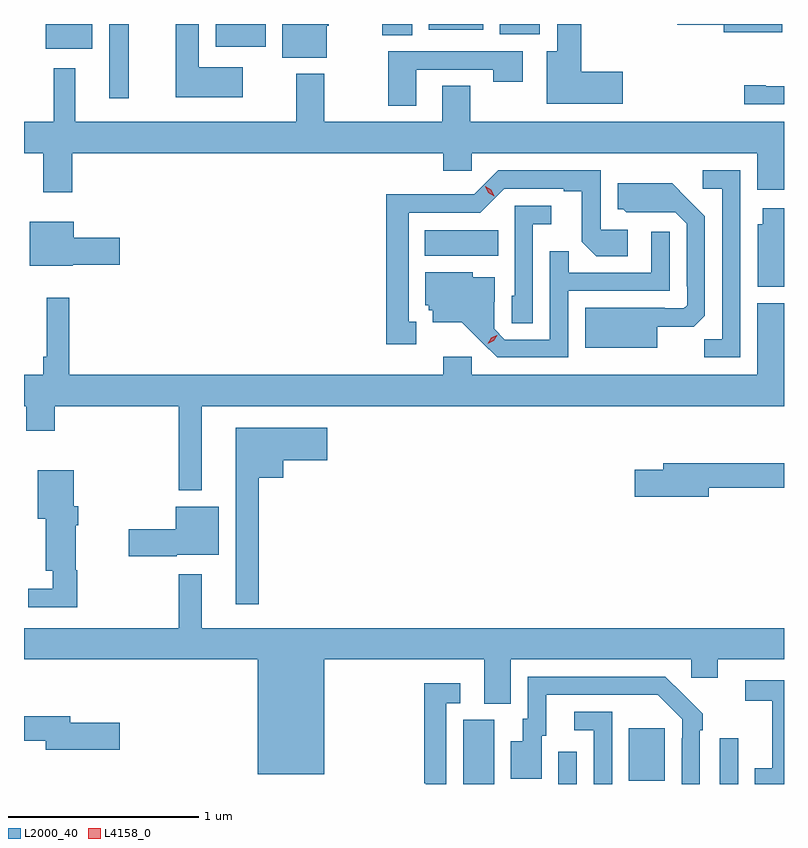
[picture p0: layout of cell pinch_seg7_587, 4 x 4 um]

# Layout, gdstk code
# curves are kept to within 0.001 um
import gdstk
lib = gdstk.Library(unit=1e-6, precision=1e-09)
def R(c, l, rs):  # rectangles x0, y0, x1, y1
    for r in rs: c.add(gdstk.rectangle(r[:2], r[2:], *l))
def P(c, l, *ps):  # polygons
    for p in ps: c.add(gdstk.Polygon(p, *l))
L2000_40 = (2000, 40)
L4158_0 = (4158, 0)

pinch_seg7_587 = lib.new_cell('pinch_seg7_587')
R(pinch_seg7_587, L2000_40, [(148.226,1021.271,148.39,1021.608), (148.728,1021.271,148.824,1021.441), (149.577,1021.271,149.673,1021.513), (149.099,1021.289,149.287,1021.564), (148.025,1024.052,148.412,1024.186), (146.363,1024.881,146.467,1025.271), (146.03,1025.141,146.275,1025.271), (146.924,1025.15,147.187,1025.271), (147.8,1025.212,147.958,1025.271), (148.418,1025.216,148.63,1025.271), (148.046,1025.24,148.333,1025.271)])
P(pinch_seg7_587, L2000_40, [(149.065,1025.021),(148.847,1025.021),(148.847,1025.271),(148.721,1025.271),(148.721,1025.128),(148.667,1025.128),(148.667,1024.85),(149.065,1024.85)],
  [(147.508,1025.262),(147.52,1025.262),(147.52,1025.271),(147.275,1025.271),(147.275,1025.093),(147.508,1025.093)],
  [(147.067,1025.044),(146.836,1025.044),(146.836,1025.271),(146.714,1025.271),(146.714,1024.886),(147.067,1024.886)],
  [(149.905,1025.271),(149.352,1025.271),(149.352,1025.267),(149.597,1025.267),(149.597,1025.228),(149.905,1025.228)],
  [(147.979,1025.031),(148.384,1025.031),(148.384,1024.968),(148.54,1024.968),(148.54,1025.127),(147.832,1025.127),(147.832,1024.842),(147.979,1024.842)],
  [(145.915,1024.592),(146.015,1024.592),(146.015,1024.386),(146.168,1024.386),(146.168,1024.592),(148.121,1024.592),(148.121,1024.499),(148.272,1024.499),(148.272,1024.592),(149.774,1024.592),(149.774,1024.398),(149.915,1024.398),(149.915,1024.756),(148.263,1024.756),(148.263,1024.946),(148.115,1024.946),(148.115,1024.756),(147.495,1024.756),(147.495,1025.008),(147.347,1025.008),(147.347,1024.756),(146.185,1024.756),(146.185,1025.038),(146.071,1025.038),(146.071,1024.756),(145.915,1024.756)],
  [(149.915,1024.944),(149.818,1024.944),(149.818,1024.949),(149.706,1024.949),(149.706,1024.848),(149.915,1024.848)],
  [(147.979,1023.705),(147.94,1023.705),(147.94,1024.278),(148.317,1024.278),(148.443,1024.404),(148.757,1024.404),(148.757,1024.392),(148.851,1024.392),(148.851,1024.124),(148.927,1024.048),(149.092,1024.048),(149.092,1024.188),(148.95,1024.188),(148.95,1024.5),(148.41,1024.5),(148.284,1024.374),(148.062,1024.374),(148.062,1024.376),(147.822,1024.376),(147.822,1023.585),(147.979,1023.585)],
  [(149.685,1024.5),(149.487,1024.5),(149.487,1024.404),(149.589,1024.404),(149.589,1023.611),(149.494,1023.611),(149.494,1023.516),(149.685,1023.516)],
  [(149.248,1023.677),(149.44,1023.677),(149.499,1023.736),(149.499,1024.258),(149.327,1024.432),(149.039,1024.432),(149.039,1024.296),(149.07,1024.296),(149.086,1024.28),(149.343,1024.281),(149.403,1024.221),(149.403,1023.892),(149.406,1023.892),(149.406,1023.792),(149.388,1023.774),(149.288,1023.774),(149.288,1023.778),(148.868,1023.778),(148.868,1023.566),(149.248,1023.566)],
  [(148.593,1024.217),(148.69,1024.217),(148.69,1024.314),(148.497,1024.314),(148.497,1023.84),(148.482,1023.84),(148.482,1023.697),(148.593,1023.697)],
  [(149.915,1024.3),(149.804,1024.3),(149.804,1024.218),(149.777,1024.218),(149.777,1023.887),(149.915,1023.887)],
  [(146.172,1024.004),(146.419,1024.004),(146.419,1024.146),(146.176,1024.146),(146.176,1024.231),(145.946,1024.231),(145.946,1023.998),(146.172,1023.998)],
  [(148.779,1023.867),(149.313,1023.867),(149.313,1024.177),(149.217,1024.177),(149.217,1023.963),(148.781,1023.963),(148.781,1024.076),(148.683,1024.076),(148.683,1023.609),(148.446,1023.609),(148.389,1023.666),(148.389,1023.808),(148.393,1023.808),(148.393,1023.937),(148.278,1023.937),(148.278,1023.964),(148.028,1023.964),(148.028,1023.792),(148.044,1023.792),(148.044,1023.765),(148.067,1023.765),(148.067,1023.701),(148.219,1023.701),(148.406,1023.516),(148.779,1023.516)],
  [(146.036,1023.829),(146.036,1023.52),(146.017,1023.52),(146.017,1023.424),(145.915,1023.424),(145.915,1023.26),(145.926,1023.26),(145.926,1023.129),(146.078,1023.129),(146.078,1023.26),(146.73,1023.26),(146.73,1022.816),(146.851,1022.816),(146.851,1023.26),(149.915,1023.26),(149.915,1023.802),(149.774,1023.802),(149.774,1023.424),(148.272,1023.424),(148.272,1023.52),(148.121,1023.52),(148.121,1023.424),(146.153,1023.424),(146.153,1023.829)],
  [(147.151,1022.882),(147.28,1022.882),(147.28,1022.975),(147.511,1022.975),(147.511,1023.145),(147.029,1023.145),(147.029,1022.217),(147.151,1022.217)],
  [(149.518,1022.83),(149.915,1022.83),(149.915,1022.959),(149.279,1022.959),(149.279,1022.925),(149.13,1022.925),(149.13,1022.783),(149.518,1022.783)],
  [(146.195,1022.397),(146.188,1022.397),(146.188,1022.633),(146.201,1022.633),(146.201,1022.733),(146.176,1022.733),(146.176,1022.923),(145.988,1022.923),(145.988,1022.666),(146.03,1022.666),(146.03,1022.393),(146.067,1022.393),(146.067,1022.298),(145.938,1022.298),(145.938,1022.202),(146.195,1022.202)],
  [(146.718,1022.477),(146.941,1022.477),(146.941,1022.731),(146.714,1022.731),(146.714,1022.612),(146.466,1022.612),(146.466,1022.47),(146.718,1022.47)],
  [(147.496,1021.928),(148.337,1021.928),(148.337,1021.693),(148.477,1021.693),(148.477,1021.928),(149.427,1021.928),(149.427,1021.83),(149.566,1021.83),(149.566,1021.928),(149.915,1021.928),(149.915,1022.092),(146.851,1022.092),(146.851,1022.374),(146.73,1022.374),(146.73,1022.092),(145.915,1022.092),(145.915,1021.928),(147.146,1021.928),(147.146,1021.322),(147.496,1021.322)],
  [(149.472,1021.553),(149.487,1021.553),(149.487,1021.641),(149.29,1021.836),(148.566,1021.836),(148.566,1021.614),(148.541,1021.614),(148.541,1021.495),(148.478,1021.495),(148.478,1021.299),(148.639,1021.299),(148.639,1021.524),(148.663,1021.524),(148.663,1021.74),(149.251,1021.74),(149.379,1021.611),(149.379,1021.511),(149.376,1021.511),(149.376,1021.271),(149.472,1021.271)],
  [(149.915,1021.818),(149.712,1021.818),(149.712,1021.71),(149.852,1021.71),(149.852,1021.354),(149.762,1021.354),(149.762,1021.271),(149.915,1021.271)],
  [(148.137,1021.695),(148.21,1021.695),(148.21,1021.801),(148.021,1021.801),(148.021,1021.276),(148.029,1021.276),(148.029,1021.271),(148.137,1021.271)],
  [(149.01,1021.65),(148.812,1021.65),(148.812,1021.554),(148.914,1021.554),(148.914,1021.271),(149.01,1021.271)],
  [(146.419,1021.593),(146.158,1021.593),(146.158,1021.627),(145.915,1021.627),(145.915,1021.498),(146.03,1021.498),(146.03,1021.451),(146.419,1021.451)])
P(pinch_seg7_587, L4158_0, [(148.356,1023.589),(148.356,1023.589),(148.374,1023.619),(148.404,1023.633),(148.405,1023.633),(148.405,1023.633),(148.387,1023.604),(148.357,1023.589)],
  [(148.39,1024.365),(148.359,1024.384),(148.342,1024.417),(148.342,1024.417),(148.342,1024.417),(148.374,1024.398),(148.391,1024.365),(148.391,1024.365)])

lib.write_gds('pinch_seg7_587.gds')
